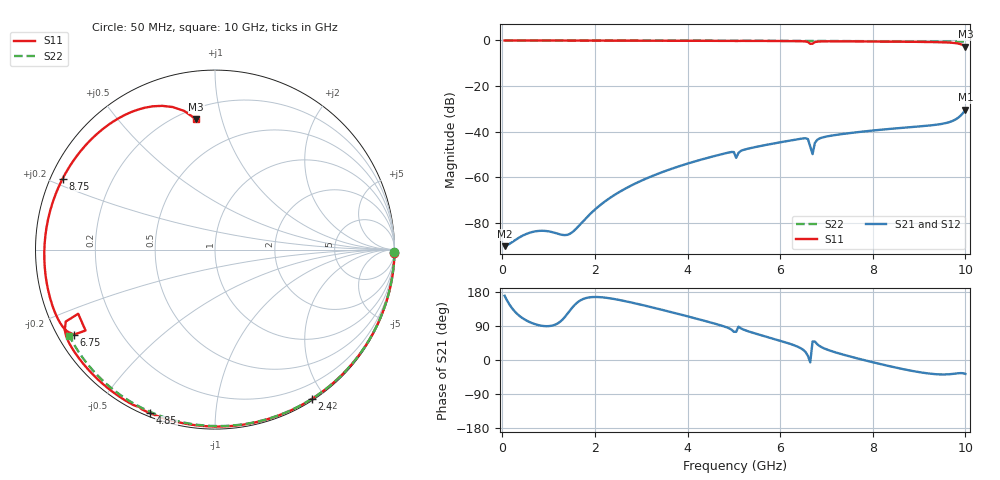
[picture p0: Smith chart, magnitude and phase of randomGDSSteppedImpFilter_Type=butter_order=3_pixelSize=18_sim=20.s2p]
! freq	dB(S11)	phase(S11)	dB(S12)	phase(S12)
!  dB(S21)	phase(S21)	dB(S22)	phase(S22)
!S-par simulation data
#  GHz  S  DB  R 50
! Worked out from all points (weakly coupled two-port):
!   200 points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, 50 MHz to 10 GHz, reference 50 ohm
!   highest |S21| = -30.42 dB at 10 GHz (marker M1); lowest = -90.3 dB at 50 MHz (marker M2)
!   lowest |S11| = -2.7 dB at 10 GHz (marker M3), VSWR 6.48, Z = 13.3 + j41.5 ohm
!   |S11| at or under -10 dB: nowhere
!   |S22| runs from -0.5 to 0.0 dB; largest |S21 - S12| = 0
!   S11 on the Smith chart (normalised r, x): 50 MHz: 0, -94; 2.4 GHz: 0.02, -1.84; 4.85 GHz: 0.01, -0.68; 6.75 GHz: 0.05, -0.28; 8.75 GHz: 0.03, +0.22; 10 GHz: 0.27, +0.83
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0.05  -0.00 -1.2  -90.25 169.6  -90.25 169.6  -0.00 -0.9
0.85  -0.02 -20.7  -83.51 90.4  -83.51 90.4  -0.02 -14.7
1.75  -0.05 -42.1  -79.20 161.2  -79.20 161.2  -0.04 -30.0
2.4  -0.07 -57.2  -68.08 161.3  -68.08 161.3  -0.05 -40.7
3.4  -0.11 -79.7  -58.18 133.9  -58.18 133.9  -0.08 -56.8
4.85  -0.17 -111.5  -49.35 86.0  -49.35 86.0  -0.12 -79.0
5  -0.19 -114.9  -48.97 74.5  -48.97 74.5  -0.12 -81.2
5.05  -0.25 -115.9  -51.49 74.2  -51.49 74.2  -0.13 -82.0
5.1  -0.21 -116.7  -49.36 87.9  -49.36 87.9  -0.13 -82.7
5.25  -0.19 -120.1  -47.77 78.3  -47.77 78.3  -0.13 -84.9
6.55  -0.45 -151.8  -42.92 20.8  -42.92 20.8  -0.20 -103.3
6.6  -0.70 -154.3  -43.27 10.8  -43.27 10.8  -0.20 -104.0
6.65  -1.50 -154.9  -46.50 -6.2  -46.50 -6.2  -0.20 -104.7
6.7  -1.41 -148.0  -49.87 48.9  -49.87 48.9  -0.21 -105.4
6.75  -0.74 -148.9  -44.95 48.7  -44.95 48.7  -0.21 -106.0
6.9  -0.40 -154.6  -42.63 33.5  -42.63 33.5  -0.22 -108.1
7.4  -0.39 -167.8  -40.90 12.9  -40.90 12.9  -0.25 -114.9
8.35  -0.50 166.9  -38.83 -16.0  -38.83 -16.0  -0.33 -127.6
8.75  -0.57 155.0  -38.14 -26.4  -38.14 -26.4  -0.36 -132.8
9.55  -0.84 126.2  -36.37 -38.1  -36.37 -38.1  -0.45 -143.4
9.85  -1.38 110.1  -33.81 -34.9  -33.81 -34.9  -0.49 -147.4
10  -2.70 98.2  -30.42 -36.7  -30.42 -36.7  -0.51 -149.3
